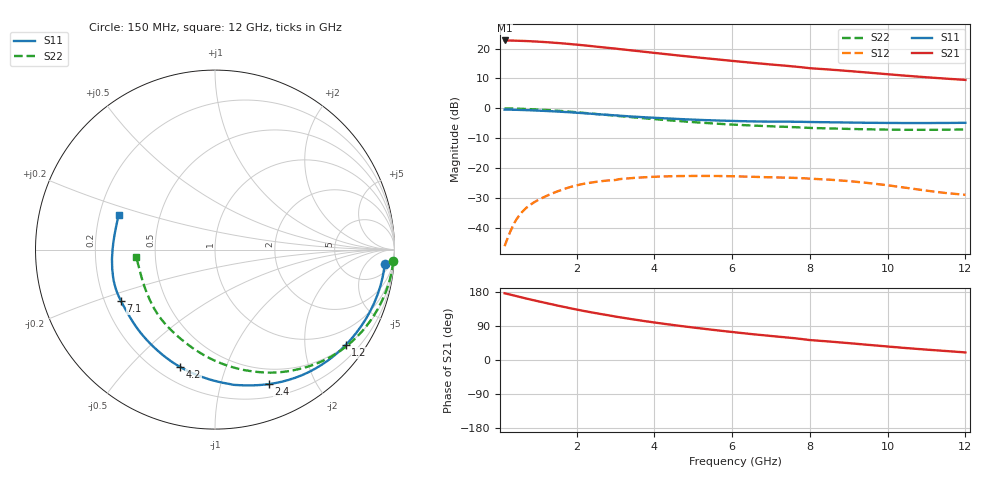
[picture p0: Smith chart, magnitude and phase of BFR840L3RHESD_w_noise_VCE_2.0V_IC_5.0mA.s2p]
! Infineon Technologies  Discrete & RF Semiconductors
! BFR840L3RHESD
! VCE =  2.0 V,  IC =  5.0 mA
! Common Emitter S-Parameters:  Jun 2012
# GHz  S  MA  R  50
!  f  S11  S21  S12  S22
! GHz  MAG  ANG  MAG  ANG  MAG  ANG  MAG  ANG
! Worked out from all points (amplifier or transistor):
!   91 points, 150 MHz to 12 GHz, reference 50 ohm
!   highest |S21| = 22.7 dB at 150 MHz (marker M1)
!   |S21| within 3 dB of that: start of sweep to 3.182 GHz
!   unconditionally stable (mu >= 1): 9.263 GHz to end of sweep
!   at 1.3 GHz: K = 0.10, MSG = 25.5 dB, |S12| = -28.9 dB
!   at 4.3 GHz: K = 0.28, MSG = 20.5 dB, |S12| = -22.8 dB
!   at 12 GHz: K = 2.40, MAG = 12.6 dB, |S12| = -29.0 dB
!   lowest NFmin = 0.50 dB at 450 MHz
!   S11 on the Smith chart (normalised r, x): 150 MHz: 11, -17; 1.2 GHz: 0.53, -2.99; 2.4 GHz: 0.33, -1.42; 4.2 GHz: 0.29, -0.71; 7.1 GHz: 0.27, -0.24; 12 GHz: 0.28, +0.16
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0.15  0.9494 -4.8  13.66 176.1  0.0049 84.0  0.995 -3.8
0.4  0.9433 -12.6  13.56 170.0  0.012 78.7  0.9876 -10.2
0.6  0.9354 -18.6  13.43 164.9  0.0183 74.6  0.9776 -15.1
0.9  0.9197 -27.5  13.17 157.6  0.0264 69.1  0.959 -22.3
1.2  0.9016 -36.1  12.82 150.7  0.0334 63.8  0.9366 -29.3
1.5  0.8815 -44.6  12.4 143.9  0.0403 58.6  0.9098 -36.2
1.7  0.8666 -50.1  12.1 139.6  0.0449 55.2  0.8898 -40.6
2  0.842 -58.1  11.63 133.2  0.0511 50.3  0.8574 -47.0
2.2  0.8245 -63.3  11.29 129.2  0.0545 47.0  0.8351 -51.1
2.4  0.8071 -68.3  10.95 125.4  0.0572 43.8  0.813 -55.0
3  0.7602 -82.3  9.985 114.6  0.0628 36.3  0.7516 -65.8
3.3  0.7361 -88.7  9.488 109.7  0.0667 31.8  0.7196 -71.2
3.7  0.7097 -97.0  8.889 103.4  0.0696 27.3  0.6826 -77.8
4.2  0.6822 -106.5  8.192 96.2  0.072 22.4  0.6417 -85.5
5  0.6447 -120.6  7.218 85.7  0.0735 14.9  0.5859 -97.1
5.6  0.6244 -130.3  6.597 78.5  0.0734 10.0  0.5523 -105.3
6.1  0.6111 -137.8  6.13 72.8  0.0724 6.4  0.5295 -112.0
7.1  0.597 -151.3  5.34 62.4  0.0695 0.5  0.4962 -124.7
8  0.5884 -164.7  4.685 52.6  0.0662 -5.8  0.4686 -137.4
8.5  0.5825 -169.5  4.453 48.8  0.0637 -8.3  0.4594 -142.0
10.5  0.5656 171.0  3.496 31.3  0.0463 -14.5  0.4358 -162.3
12  0.5704 160.4  2.982 20.0  0.0355 -5.9  0.4415 -174.4
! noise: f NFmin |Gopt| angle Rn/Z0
0.45  0.5  0.54  7  0.19
0.9  0.54  0.53  11  0.18
1.9  0.57  0.52  28  0.18
3.5  0.59  0.52  47  0.16
4  0.61  0.51  55  0.16
5.5  0.66  0.52  70  0.14
7  0.73  0.5  89  0.13
8  0.79  0.46  100  0.12
10  0.93  0.42  122  0.1
12  1.1  0.35  153  0.08
